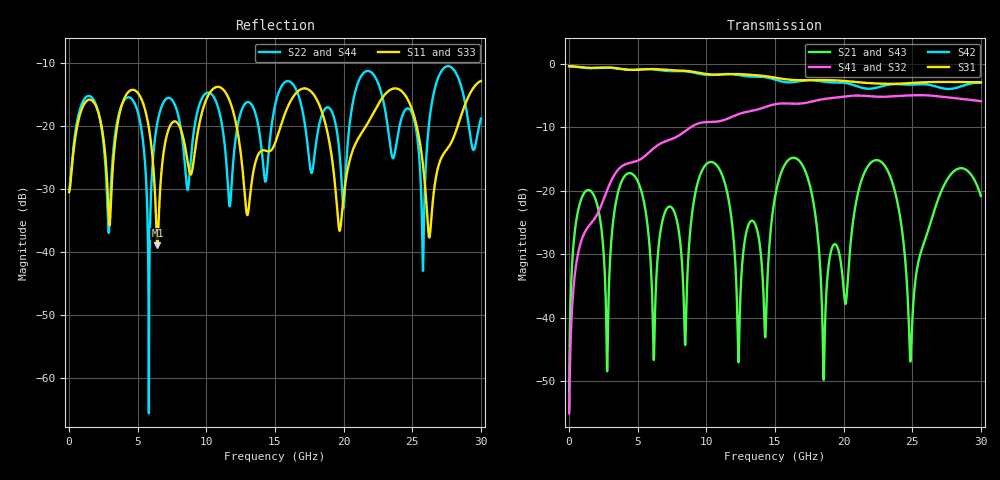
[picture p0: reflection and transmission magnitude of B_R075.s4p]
!diffpair-meanders B_R075 (untuned U-bend, inner radius 0.75 mm), mesh medium
!ports 1 P_near 2 N_near 3 P_far 4 N_far; openEMS FDTD, lumped 50 ohm ports
# Hz S RI R 50.0
! Port[1] = P_near
! Port[2] = N_near
! Port[3] = P_far
! Port[4] = N_far
!freq ReS11 ImS11 ReS12 ImS12 ReS13 ImS13
! ReS14 ImS14
! ReS21 ImS21 ReS22 ImS22 ReS23 ImS23
! ReS24 ImS24
! ReS31 ImS31 ReS32 ImS32 ReS33 ImS33
! ReS34 ImS34
! ReS41 ImS41 ReS42 ImS42 ReS43 ImS43
! ReS44 ImS44
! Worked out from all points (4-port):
!   3000 points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, 10 MHz to 30 GHz, reference 50 ohm
!   strongest paths, dB at 10 MHz, 7.51 GHz, 15.01 GHz, 22.51 GHz, 30 GHz:
!     S31: -0.4, -1.0, -2.2, -3.1, -2.9
!     S42: -0.4, -1.1, -2.5, -3.7, -2.9
!     S41: -55.1, -11.8, -6.4, -5.2, -5.9
!     S32: -55.1, -11.8, -6.4, -5.1, -5.9
!     S21: -54.5, -22.7, -21.0, -15.2, -20.8
!     S43: -54.5, -22.7, -21.0, -15.2, -20.8
!   lowest |S11| = -38.9 dB at 6.44 GHz (marker M1), VSWR 1.02, Z = 51.1 - j0.192 ohm
!   |S11| at or under -10 dB: start of sweep to end of sweep
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1e7  -0.0297 0.00209  0.00148 0.00116  0.9597 -0.00976  0.00167 -0.000555
     0.00148 0.00116  -0.0314 0.00233  0.00167 -0.000555  0.9573 -0.0104
     0.9597 -0.00976  0.00167 -0.000555  -0.0297 0.00209  0.00148 0.00116
     0.00167 -0.000555  0.9573 -0.0104  0.00148 0.00116  -0.0314 0.00233
3.12e9  0.0165 0.0304  0.0143 0.0428  -0.9339 -0.0324  0.0136 0.1221
        0.0143 0.0428  0.0222 0.0389  0.0136 0.1221  -0.9185 0.1507
        -0.9339 -0.0324  0.0136 0.1221  0.0165 0.0304  0.0143 0.0428
        0.0136 0.1221  -0.9185 0.1507  0.0143 0.0428  0.0222 0.0389
6.44e9  0.0112 -0.00188  0.0206 0.0192  0.9041 -0.088  -0.0763 -0.2143
        0.0207 0.0192  0.0599 0.0874  -0.0764 -0.2144  0.7776 -0.448
        0.9041 -0.088  -0.0763 -0.2143  0.0112 -0.00187  0.0206 0.0192
        -0.0764 -0.2144  0.7776 -0.448  0.0207 0.0192  0.0599 0.0875
9.4e9  0.055 0.0728  0.0724 0.0936  -0.8486 -0.0889  0.0957 0.3248
       0.0724 0.0936  0.1129 0.0748  0.0959 0.3248  -0.7244 0.4233
       -0.8486 -0.0889  0.0957 0.3248  0.055 0.0728  0.0724 0.0936
       0.0959 0.3248  -0.7244 0.4233  0.0724 0.0936  0.1129 0.0748
1.266e10  0.0171 -0.0395  0.0273 0.0125  0.8271 0.0436  -0.1717 -0.3735
          0.0274 0.0124  0.1087 0.0883  -0.1724 -0.3737  0.5297 -0.6083
          0.8271 0.0436  -0.1717 -0.3735  0.0171 -0.0395  0.0274 0.0125
          -0.1724 -0.3737  0.5297 -0.6083  0.0275 0.0124  0.1087 0.0883
1.579e10  0.0985 0.0841  0.1517 0.0654  -0.7511 -0.0885  0.2662 0.4093
          0.1517 0.0652  0.2237 0.00608  0.2669 0.4085  -0.3403 0.6317
          -0.7511 -0.0885  0.2662 0.4093  0.0985 0.0841  0.1517 0.0654
          0.2669 0.4085  -0.3403 0.6317  0.1516 0.0652  0.2236 0.00603
3e10  0.2252 0.0202  -0.00346 -0.0909  -0.2083 0.6869  0.2044 -0.4643
      -0.00314 -0.0909  0.0488 0.1029  0.2048 -0.4654  0.3904 -0.5984
      -0.2083 0.6869  0.2044 -0.4643  0.2252 0.0201  -0.00345 -0.0908
      0.2048 -0.4654  0.3904 -0.5984  -0.00313 -0.0908  0.0489 0.1029
